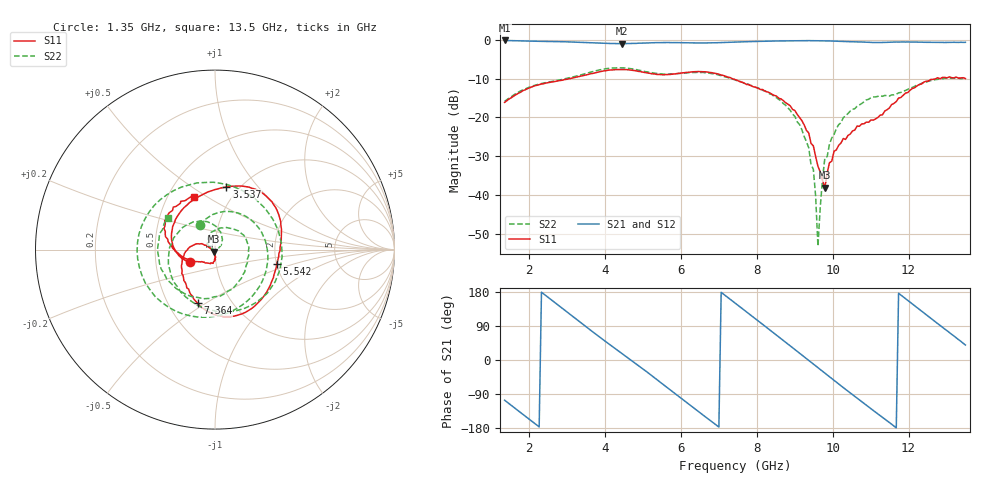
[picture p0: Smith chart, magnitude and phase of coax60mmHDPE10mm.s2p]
!Agilent Technologies,N5230C,MY48100320,A.08.04.10
!Agilent N5230C: A.08.04.10
!Date: Thursday, August 04, 2016 04:19:41
!Correction: S11(Full 2 Port(1,2))
!S21(Full 2 Port(1,2))
!S12(Full 2 Port(1,2))
!S22(Full 2 Port(1,2))
!S2P File: Measurements: S11, S21, S12, S22:
# Hz S  dB  R 50
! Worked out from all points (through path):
!   201 points, 1.35 GHz to 13.5 GHz, reference 50 ohm
!   highest |S21| = -0.20 dB at 1.35 GHz (marker M1); lowest = -1.0 dB at 4.448 GHz (marker M2)
!   group delay of S21, straight-line fit = 214 ps
!   lowest |S11| = -38.1 dB at 9.794 GHz (marker M3), VSWR 1.03, Z = 49.5 - j1.11 ohm
!   |S11| at or under -10 dB: start of sweep to 3.082 GHz; 7.345 GHz to 12.73 GHz (5.384 GHz wide, 53.6 % of centre); 12.81906 GHz to 12.84154 GHz (22.48 MHz wide, 0.175 % of centre)
!   |S22| runs from -53.2 to -7.2 dB; largest |S21 - S12| = 0.0052
!   S11 on the Smith chart (normalised r, x): 1.35 GHz: 0.75, -0.11; 3.537 GHz: 0.88, +0.70; 5.542 GHz: 2.01, -0.36; 7.364 GHz: 0.70, -0.46; 13.5 GHz: 0.67, +0.44
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1.35027e9  -16.14 -153.2  -0.20 -106.1  -0.21 -106.1  -15.91 121.5
2.382997e9  -11.34 146.6  -0.45 174.2  -0.45 174.2  -11.15 20.4
3.415724e9  -9.26 84.8  -0.69 94.2  -0.71 94.2  -8.91 -76.8
3.537221e9  -9.00 79.7  -0.75 84.8  -0.74 84.8  -8.59 -90.0
4.448451e9  -7.66 40.2  -1.03 16.9  -1.02 17.0  -7.26 174.6
5.42043e9  -8.95 -6.6  -0.77 -55.9  -0.77 -55.8  -8.77 71.5
5.541927e9  -9.05 -12.9  -0.75 -65.4  -0.75 -65.3  -8.88 58.6
6.270911e9  -8.31 -54.4  -0.82 -121.7  -0.83 -121.6  -8.51 -11.3
6.817648e9  -8.50 -82.9  -0.82 -163.0  -0.83 -163.0  -8.72 -63.2
7.364386e9  -10.10 -108.1  -0.64 155.1  -0.65 155.2  -10.17 -121.8
7.425135e9  -10.27 -110.7  -0.62 150.6  -0.62 150.6  -10.33 -128.6
8.397113e9  -14.03 -157.7  -0.36 75.1  -0.37 75.1  -14.12 128.4
9.126097e9  -20.04 161.1  -0.26 18.1  -0.26 18.2  -21.84 61.8
9.490589e9  -27.33 158.2  -0.26 -10.7  -0.26 -10.6  -33.34 23.0
9.612086e9  -32.59 161.8  -0.27 -20.3  -0.28 -20.2  -53.17 -156.3
9.794332e9  -38.13 -115.5  -0.30 -34.7  -0.30 -34.6  -30.45 165.5
1.003733e10  -28.72 -91.3  -0.36 -53.8  -0.36 -53.8  -24.45 130.7
1.058406e10  -23.27 -96.6  -0.55 -96.1  -0.54 -96.0  -17.77 67.6
1.149529e10  -17.59 -149.8  -0.65 -165.0  -0.66 -164.8  -14.52 -16.1
1.198128e10  -13.62 -175.2  -0.58 157.0  -0.58 157.2  -12.80 -59.5
1.258877e10  -10.23 157.4  -0.71 109.7  -0.71 110.0  -10.53 -122.1
1.35e10  -9.99 111.8  -0.69 39.5  -0.69 39.7  -9.94 145.9
